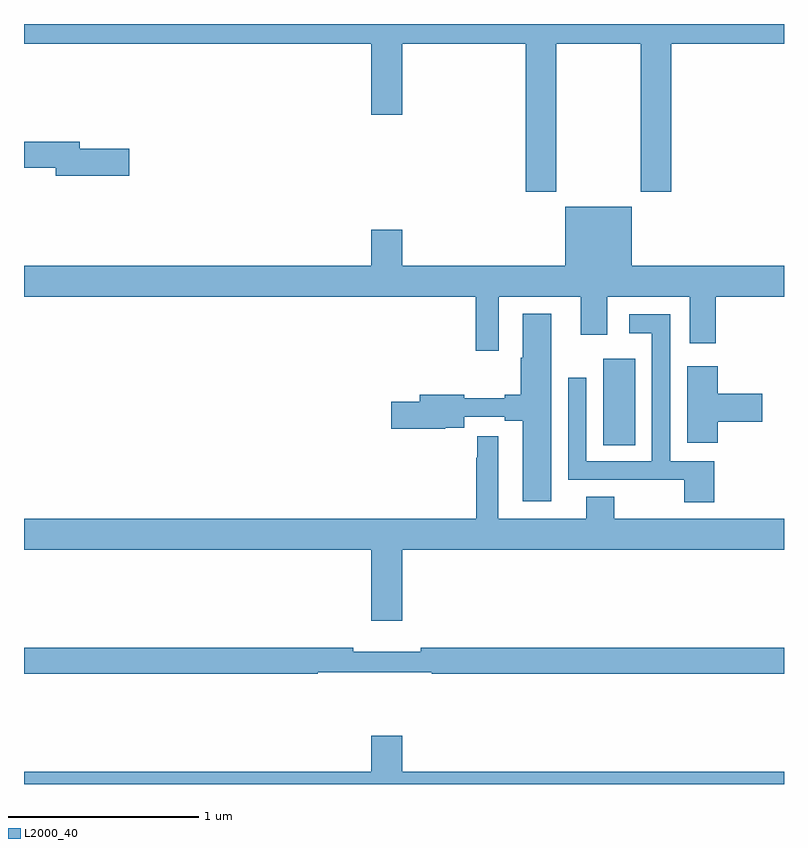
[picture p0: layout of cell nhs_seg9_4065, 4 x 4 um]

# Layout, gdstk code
import gdstk
lib = gdstk.Library(unit=1e-6, precision=1e-09)
def R(c, l, rs):  # rectangles x0, y0, x1, y1
    for r in rs: c.add(gdstk.rectangle(r[:2], r[2:], *l))
def P(c, l, *ps):  # polygons
    for p in ps: c.add(gdstk.Polygon(p, *l))
L2000_40 = (2000, 40)

nhs_seg9_4065 = lib.new_cell('nhs_seg9_4065')
R(nhs_seg9_4065, L2000_40, [(346.049,1218.283,346.216,1218.739)])
P(nhs_seg9_4065, L2000_40, [(345.801,1220.396),(346.246,1220.396),(346.246,1219.617),(346.406,1219.617),(346.406,1220.396),(347,1220.396),(347,1220.5),(343,1220.5),(343,1220.396),(344.828,1220.396),(344.828,1220.022),(344.992,1220.022),(344.992,1220.396),(345.641,1220.396),(345.641,1219.617),(345.801,1219.617)],
  [(343.555,1219.844),(343.294,1219.844),(343.294,1219.88),(343,1219.88),(343,1219.744),(343.166,1219.744),(343.166,1219.702),(343.555,1219.702)],
  [(345.499,1219.064),(345.929,1219.064),(345.929,1218.864),(346.069,1218.864),(346.069,1219.064),(346.505,1219.064),(346.505,1218.819),(346.64,1218.819),(346.64,1219.064),(347,1219.064),(347,1219.228),(346.198,1219.228),(346.198,1219.537),(345.848,1219.537),(345.848,1219.228),(344.992,1219.228),(344.992,1219.417),(344.828,1219.417),(344.828,1219.228),(343,1219.228),(343,1219.064),(345.378,1219.064),(345.378,1218.78),(345.499,1218.78)],
  [(345.775,1218.976),(345.626,1218.976),(345.626,1218.744),(345.614,1218.744),(345.614,1218.548),(345.53,1218.548),(345.53,1218.531),(345.318,1218.531),(345.318,1218.548),(345.083,1218.548),(345.083,1218.512),(344.934,1218.512),(344.934,1218.37),(345.218,1218.37),(345.218,1218.374),(345.318,1218.374),(345.318,1218.432),(345.53,1218.432),(345.53,1218.412),(345.626,1218.412),(345.626,1217.988),(345.775,1217.988)],
  [(346.634,1218.198),(346.401,1218.198),(346.401,1218.973),(346.185,1218.973),(346.185,1218.872),(346.305,1218.872),(346.305,1218.198),(345.96,1218.198),(345.96,1218.637),(345.864,1218.637),(345.864,1218.102),(346.208,1218.102),(346.208,1218.101),(346.474,1218.101),(346.474,1217.982),(346.634,1217.982)],
  [(346.652,1218.407),(346.885,1218.407),(346.885,1218.554),(346.652,1218.554),(346.652,1218.7),(346.49,1218.7),(346.49,1218.297),(346.652,1218.297)],
  [(344.992,1217.732),(347,1217.732),(347,1217.896),(346.107,1217.896),(346.107,1218.013),(345.959,1218.013),(345.959,1217.896),(345.496,1217.896),(345.496,1218.331),(345.386,1218.331),(345.386,1218.218),(345.379,1218.218),(345.379,1217.896),(343,1217.896),(343,1217.732),(344.828,1217.732),(344.828,1217.358),(344.992,1217.358)],
  [(344.545,1217.088),(345.145,1217.088),(345.145,1217.08),(347,1217.08),(347,1217.216),(345.088,1217.216),(345.088,1217.197),(344.732,1217.197),(344.732,1217.216),(343,1217.216),(343,1217.08),(344.545,1217.08)],
  [(347,1216.564),(344.992,1216.564),(344.992,1216.753),(344.828,1216.753),(344.828,1216.564),(343,1216.564),(343,1216.5),(347,1216.5)])

lib.write_gds('nhs_seg9_4065.gds')
